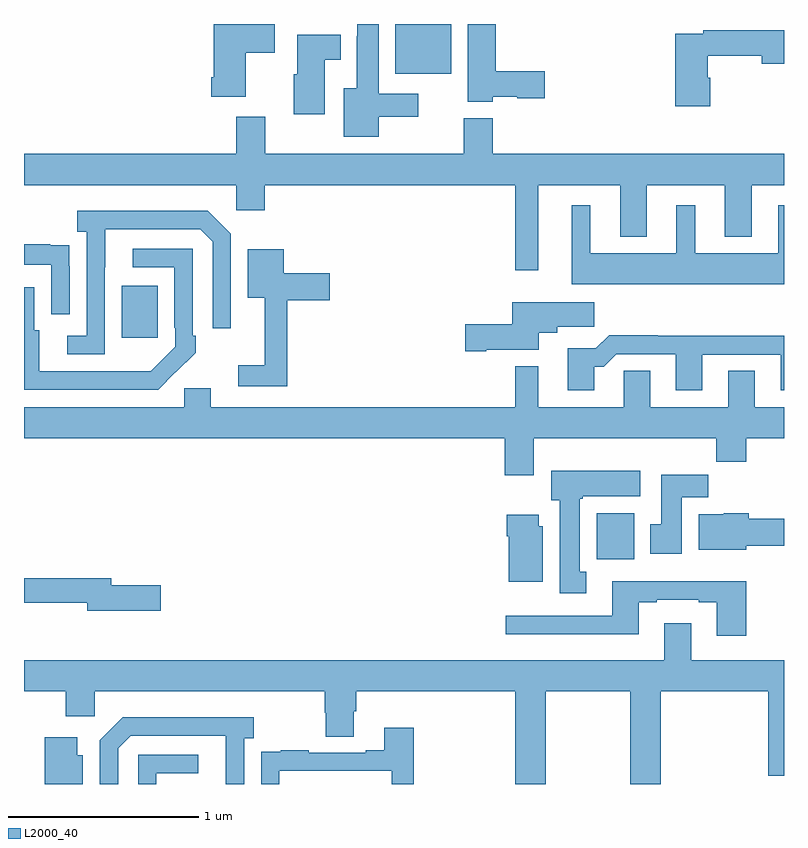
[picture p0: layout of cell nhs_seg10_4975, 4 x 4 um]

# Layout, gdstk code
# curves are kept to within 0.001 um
import gdstk
lib = gdstk.Library(unit=1e-6, precision=1e-09)
def R(c, l, rs):  # rectangles x0, y0, x1, y1
    for r in rs: c.add(gdstk.rectangle(r[:2], r[2:], *l))
def P(c, l, *ps):  # polygons
    for p in ps: c.add(gdstk.Polygon(p, *l))
L2000_40 = (2000, 40)

nhs_seg10_4975 = lib.new_cell('nhs_seg10_4975')
R(nhs_seg10_4975, L2000_40, [(402.014,1295.684,402.211,1295.926), (399.515,1296.849,399.703,1297.123), (400.955,1298.237,401.248,1298.5)])
P(nhs_seg10_4975, L2000_40, [(400.867,1298.012),(401.074,1298.012),(401.074,1298.134),(400.867,1298.134),(400.867,1298.5),(400.755,1298.5),(400.755,1298.435),(400.751,1298.435),(400.751,1298.161),(400.682,1298.161),(400.682,1297.907),(400.867,1297.907)],
  [(401.466,1298.117),(401.597,1298.117),(401.597,1298.11),(401.74,1298.11),(401.74,1298.252),(401.483,1298.252),(401.483,1298.5),(401.336,1298.5),(401.336,1298.09),(401.466,1298.09)],
  [(400.168,1298.35),(400.321,1298.35),(400.321,1298.5),(399.998,1298.5),(399.998,1298.221),(399.986,1298.221),(399.986,1298.117),(400.168,1298.117)],
  [(402.611,1298.217),(402.598,1298.217),(402.598,1298.332),(402.884,1298.332),(402.884,1298.29),(403,1298.29),(403,1298.468),(402.574,1298.468),(402.574,1298.448),(402.428,1298.448),(402.428,1298.067),(402.611,1298.067)],
  [(400.582,1298.312),(400.666,1298.312),(400.666,1298.443),(400.439,1298.443),(400.439,1298.235),(400.421,1298.235),(400.421,1298.025),(400.582,1298.025)],
  [(401.707,1297.652),(402.137,1297.652),(402.137,1297.379),(402.277,1297.379),(402.277,1297.652),(402.689,1297.652),(402.689,1297.379),(402.829,1297.379),(402.829,1297.652),(403,1297.652),(403,1297.816),(401.468,1297.816),(401.468,1298.005),(401.315,1298.005),(401.315,1297.816),(400.27,1297.816),(400.27,1298.011),(400.118,1298.011),(400.118,1297.816),(399,1297.816),(399,1297.652),(400.116,1297.652),(400.116,1297.521),(400.268,1297.521),(400.268,1297.652),(401.586,1297.652),(401.586,1297.203),(401.707,1297.203)],
  [(403,1297.546),(402.971,1297.546),(402.971,1297.294),(402.532,1297.294),(402.532,1297.546),(402.434,1297.546),(402.434,1297.294),(401.98,1297.294),(401.98,1297.546),(401.882,1297.546),(401.882,1297.13),(403,1297.13)],
  [(399.426,1297.219),(399.427,1297.419),(399.927,1297.419),(399.993,1297.353),(399.993,1296.9),(400.089,1296.9),(400.089,1297.395),(399.968,1297.516),(399.279,1297.516),(399.279,1297.406),(399.33,1297.406),(399.33,1296.858),(399.228,1296.858),(399.228,1296.762),(399.426,1296.762)],
  [(399.24,1297.226),(399.239,1297.226),(399.239,1297.335),(399.137,1297.335),(399.137,1297.342),(399,1297.342),(399,1297.233),(399.144,1297.233),(399.144,1296.972),(399.24,1296.972)],
  [(399.797,1296.667),(399.798,1296.666),(399.903,1296.771),(399.903,1296.859),(399.888,1296.859),(399.888,1297.317),(399.573,1297.317),(399.573,1297.221),(399.792,1297.221),(399.792,1296.901),(399.795,1296.901),(399.795,1296.801),(399.667,1296.673),(399.079,1296.672),(399.079,1296.888),(399.055,1296.888),(399.055,1297.114),(399,1297.114),(399,1296.576),(399.706,1296.576)],
  [(400.385,1297.046),(400.609,1297.046),(400.609,1297.188),(400.366,1297.188),(400.366,1297.315),(400.178,1297.315),(400.178,1297.058),(400.268,1297.058),(400.268,1296.703),(400.128,1296.703),(400.128,1296.594),(400.385,1296.594)],
  [(401.434,1296.785),(401.71,1296.785),(401.71,1296.875),(401.806,1296.875),(401.806,1296.907),(402.001,1296.907),(402.001,1297.036),(401.57,1297.036),(401.57,1296.92),(401.322,1296.92),(401.322,1296.778),(401.434,1296.778)],
  [(402.001,1296.695),(402.05,1296.695),(402.117,1296.762),(402.431,1296.762),(402.431,1296.573),(402.571,1296.573),(402.571,1296.759),(402.983,1296.759),(402.983,1296.573),(403,1296.573),(403,1296.86),(402.335,1296.86),(402.335,1296.863),(402.08,1296.863),(402.01,1296.793),(401.861,1296.793),(401.861,1296.573),(402.001,1296.573)],
  [(402.643,1296.196),(402.8,1296.196),(402.8,1296.32),(403,1296.32),(403,1296.484),(402.847,1296.484),(402.847,1296.674),(402.707,1296.674),(402.707,1296.484),(402.295,1296.484),(402.295,1296.674),(402.156,1296.674),(402.156,1296.484),(401.707,1296.484),(401.707,1296.7),(401.586,1296.7),(401.586,1296.484),(399.982,1296.484),(399.982,1296.582),(399.843,1296.582),(399.843,1296.484),(399,1296.484),(399,1296.32),(401.531,1296.32),(401.531,1296.126),(401.683,1296.126),(401.683,1296.32),(402.643,1296.32)],
  [(401.959,1295.618),(401.926,1295.618),(401.926,1296.001),(401.94,1296.001),(401.94,1296.014),(402.244,1296.014),(402.244,1296.148),(401.774,1296.148),(401.774,1295.994),(401.819,1295.994),(401.819,1295.505),(401.959,1295.505)],
  [(402.463,1296.008),(402.602,1296.008),(402.602,1296.127),(402.353,1296.127),(402.353,1295.868),(402.296,1295.868),(402.296,1295.712),(402.463,1295.712)],
  [(402.802,1295.753),(403,1295.753),(403,1295.895),(402.815,1295.895),(402.815,1295.926),(402.684,1295.926),(402.684,1295.92),(402.551,1295.92),(402.551,1295.732),(402.802,1295.732)],
  [(401.731,1295.856),(401.71,1295.856),(401.71,1295.917),(401.54,1295.917),(401.54,1295.804),(401.552,1295.804),(401.552,1295.564),(401.731,1295.564)],
  [(399.721,1295.546),(399.46,1295.546),(399.46,1295.582),(399,1295.582),(399,1295.454),(399.332,1295.454),(399.332,1295.411),(399.721,1295.411)],
  [(402.8,1295.566),(402.095,1295.566),(402.095,1295.385),(401.535,1295.385),(401.535,1295.288),(402.235,1295.288),(402.235,1295.457),(402.331,1295.457),(402.331,1295.469),(402.551,1295.469),(402.551,1295.457),(402.647,1295.457),(402.647,1295.28),(402.8,1295.28)],
  [(401.745,1294.988),(402.19,1294.988),(402.19,1294.5),(402.35,1294.5),(402.35,1294.988),(402.918,1294.988),(402.918,1294.544),(403,1294.544),(403,1295.152),(402.511,1295.152),(402.511,1295.347),(402.371,1295.347),(402.371,1295.152),(399,1295.152),(399,1294.988),(399.221,1294.988),(399.221,1294.857),(399.372,1294.857),(399.372,1294.988),(400.583,1294.988),(400.583,1294.875),(400.588,1294.875),(400.588,1294.75),(400.735,1294.75),(400.735,1294.882),(400.748,1294.882),(400.748,1294.988),(401.585,1294.988),(401.585,1294.5),(401.745,1294.5)],
  [(399.495,1294.689),(399.561,1294.755),(400.061,1294.755),(400.062,1294.5),(400.158,1294.5),(400.158,1294.742),(400.21,1294.742),(400.21,1294.852),(399.52,1294.852),(399.399,1294.731),(399.399,1294.5),(399.495,1294.5)],
  [(400.344,1294.569),(400.935,1294.569),(400.935,1294.5),(401.051,1294.5),(401.051,1294.795),(400.895,1294.795),(400.895,1294.678),(400.799,1294.678),(400.799,1294.665),(400.499,1294.665),(400.499,1294.678),(400.351,1294.678),(400.351,1294.671),(400.249,1294.671),(400.249,1294.562),(400.248,1294.562),(400.248,1294.5),(400.344,1294.5)],
  [(399.31,1294.651),(399.28,1294.651),(399.28,1294.747),(399.11,1294.747),(399.11,1294.5),(399.31,1294.5)],
  [(399.696,1294.557),(399.916,1294.557),(399.916,1294.653),(399.6,1294.653),(399.6,1294.5),(399.696,1294.5)])

lib.write_gds('nhs_seg10_4975.gds')
